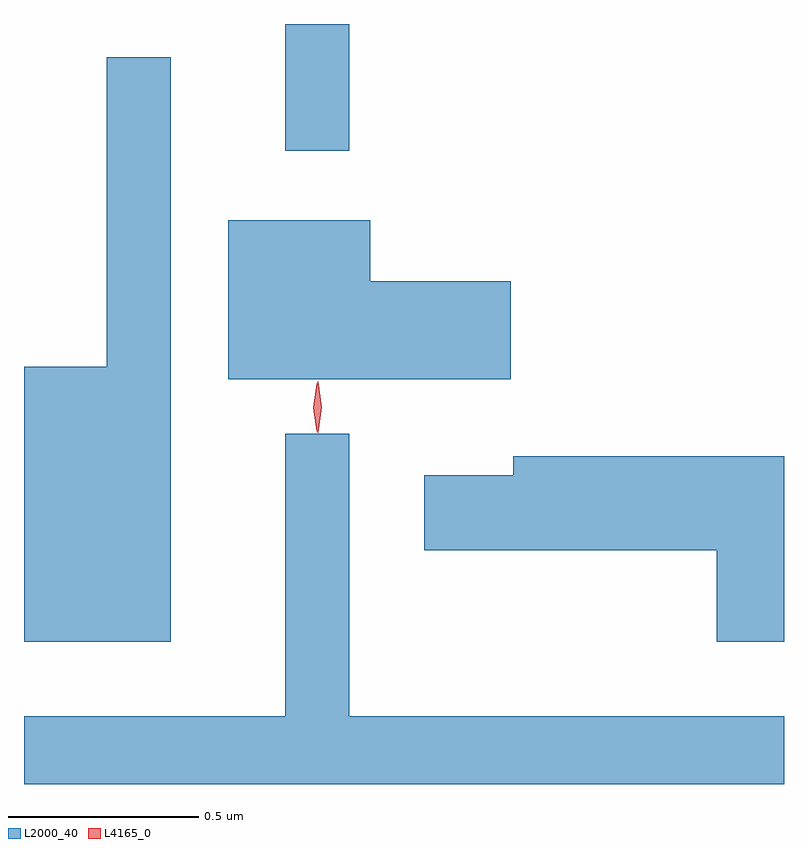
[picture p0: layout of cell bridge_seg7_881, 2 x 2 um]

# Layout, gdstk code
import gdstk
lib = gdstk.Library(unit=1e-6, precision=1e-09)
def R(c, l, rs):  # rectangles x0, y0, x1, y1
    for r in rs: c.add(gdstk.rectangle(r[:2], r[2:], *l))
def P(c, l, *ps):  # polygons
    for p in ps: c.add(gdstk.Polygon(p, *l))
L2000_40 = (2000, 40)
L4165_0 = (4165, 0)

bridge_seg7_881 = lib.new_cell('bridge_seg7_881')
R(bridge_seg7_881, L2000_40, [(379.181,1693.873,379.349,1694.206)])
P(bridge_seg7_881, L2000_40, [(378.879,1694.118),(378.711,1694.118),(378.711,1693.304),(378.493,1693.304),(378.493,1692.581),(378.879,1692.581)],
  [(379.774,1693.529),(379.404,1693.529),(379.404,1693.689),(379.031,1693.689),(379.031,1693.271),(379.774,1693.271)],
  [(380.493,1692.384),(379.349,1692.384),(379.349,1693.128),(379.181,1693.128),(379.181,1692.384),(378.493,1692.384),(378.493,1692.206),(380.493,1692.206)],
  [(380.493,1693.069),(379.781,1693.069),(379.781,1693.019),(379.546,1693.019),(379.546,1692.821),(380.316,1692.821),(380.316,1692.581),(380.493,1692.581)])
P(bridge_seg7_881, L4165_0, [(379.266,1693.13),(379.256,1693.198),(379.266,1693.265),(379.266,1693.266),(379.267,1693.265),(379.276,1693.198),(379.267,1693.13),(379.267,1693.13)],
  [(379.264,1693.133),(379.264,1693.134),(379.254,1693.196),(379.263,1693.259),(379.263,1693.26),(379.264,1693.259),(379.273,1693.196),(379.264,1693.134)])

lib.write_gds('bridge_seg7_881.gds')
